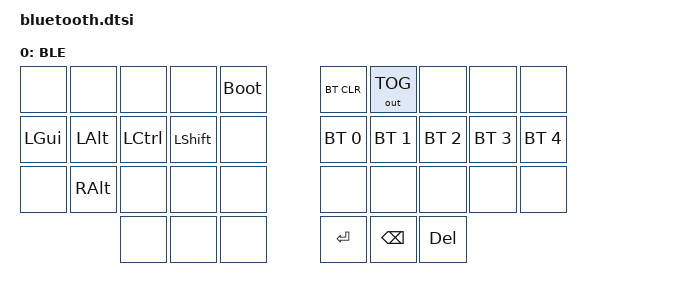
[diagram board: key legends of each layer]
/ {
	keymap {
        compatible = "zmk,keymap";

        bluetooth_layer {
			label = "BLE";
			bindings = <
                &none       &none       &none       &none       &bootloader &bt BT_CLR   &out OUT_TOG &none     &none       &none
                &kp LGUI    &kp LALT    &kp LCTL    &kp LSHFT   &none       &bt BT_SEL 0 &bt BT_SEL 1 &bt BT_SEL 2 &bt BT_SEL 3 &bt BT_SEL 4 
                &none       &kp RALT    &none       &none       &none       &none       &none       &none       &none       &none
                                        &none       &none       &none       &kp RET     &kp BSPC    &kp DEL     
			>;
		};
	};
};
